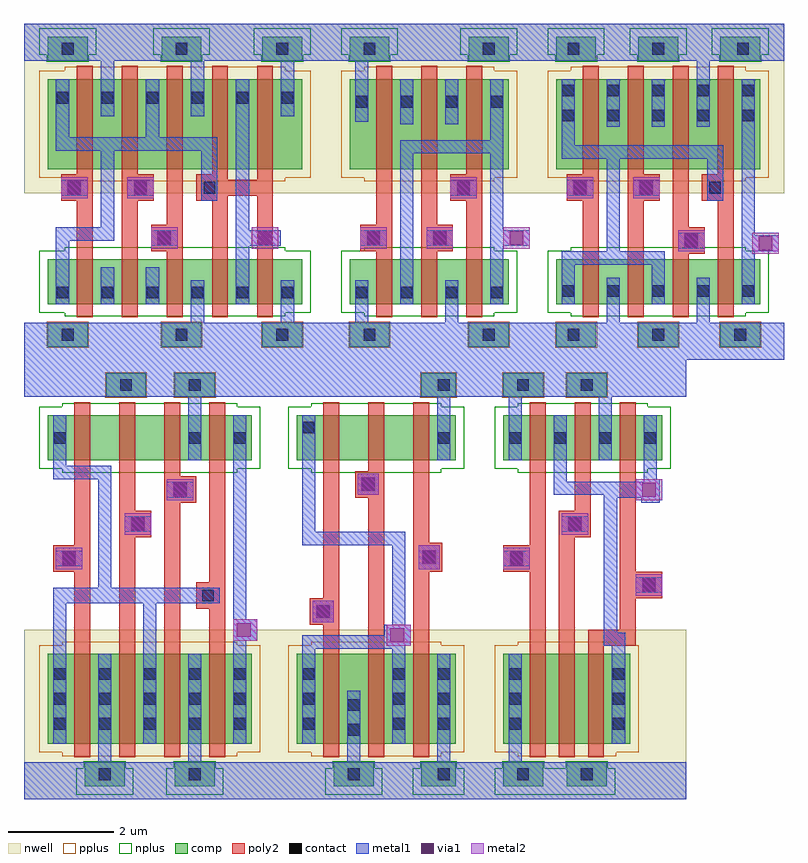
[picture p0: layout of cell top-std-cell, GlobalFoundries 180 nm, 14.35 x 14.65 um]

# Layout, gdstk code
import gdstk
lib = gdstk.Library(unit=1e-6, precision=1e-09)
def R(c, l, rs):  # rectangles x0, y0, x1, y1
    for r in rs: c.add(gdstk.rectangle(r[:2], r[2:], *l))
def A(c, l, x, y, w, h, nx, ny, dx, dy):  # array of equal rectangles
    R(c, l, [(x+i*dx, y+j*dy, x+i*dx+w, y+j*dy+h) for i in range(nx) for j in range(ny)])
nwell = (21, 0)
comp = (22, 0)
poly2 = (30, 0)
pplus = (31, 0)
nplus = (32, 0)
contact = (33, 0)
metal1 = (34, 0)
via1 = (35, 0)
metal2 = (36, 0)

gf180mcu_osu_sc_gp12t3v3 = lib.new_cell('gf180mcu_osu_sc_gp12t3v3__and3_1')
R(gf180mcu_osu_sc_gp12t3v3, nwell, [(0,5.1,4.75,8.3)])
R(gf180mcu_osu_sc_gp12t3v3, comp, [(1.55,0.25,2.3,0.7), (2.85,0.25,3.6,0.7), (0.45,1.05,4.3,1.9), (0.45,5.55,4.3,7.25), (1.15,7.6,1.9,8.05), (2.85,7.6,3.6,8.05)])
R(gf180mcu_osu_sc_gp12t3v3, poly2, [(0.95,0.8,1.25,3.5), (1.8,0.8,2.1,2.85), (2.65,0.8,2.95,2.2), (3.5,0.8,3.8,4.2), (2.65,2.2,3.25,2.7), (2.65,2.7,2.95,7.5), (1.8,2.85,2.4,3.35), (1.8,3.35,2.1,7.5), (0.55,3.5,1.25,4), (0.95,4,1.25,7.5), (3.25,4.2,3.8,4.7), (3.5,4.7,3.8,7.5)])
R(gf180mcu_osu_sc_gp12t3v3, pplus, [(1.53,0.23,2.32,0.72), (2.83,0.23,3.62,0.72), (0.72,5.32,4.03,5.39), (0.29,5.39,4.46,7.41), (0.72,7.41,4.03,7.48)])
R(gf180mcu_osu_sc_gp12t3v3, nplus, [(0.72,0.82,4.03,0.89), (0.29,0.89,4.46,2.06), (0.72,2.06,4.03,2.13), (1.13,7.58,1.92,7.71), (2.83,7.58,3.62,7.71), (0.99,7.71,2.06,8.21), (2.69,7.71,3.76,8.21)])
A(gf180mcu_osu_sc_gp12t3v3, contact, 0.565, 5.82, 0.22, 0.22, 5, 3, 0.85, 0.47)
R(gf180mcu_osu_sc_gp12t3v3, contact, [(1.815,0.365,2.035,0.585), (3.115,0.365,3.335,0.585), (0.565,1.365,0.785,1.585), (3.115,1.365,3.335,1.585), (3.965,1.365,4.185,1.585), (2.84,2.34,3.06,2.56), (2.04,2.99,2.26,3.21), (0.74,3.64,0.96,3.86), (3.365,4.34,3.585,4.56), (1.415,7.715,1.635,7.935), (3.115,7.715,3.335,7.935)])
R(gf180mcu_osu_sc_gp12t3v3, metal1, [(0,0,4.75,0.7), (3.1,0.7,3.35,1.9), (0.55,1.05,0.8,2), (3.95,1.05,4.2,4.9), (0.55,2,1.65,2.25), (1.4,2.25,1.65,4.3), (2.7,2.3,3.2,2.6), (1.9,2.95,2.4,3.25), (0.6,3.6,1.1,3.9), (0.55,4.3,3.7,4.6), (0.55,4.6,0.8,7.25), (2.25,4.6,2.5,7.25), (3.95,4.9,4.4,5.3), (3.95,5.3,4.2,7.25), (1.4,5.55,1.65,7.6), (3.1,5.55,3.35,7.6), (0,7.6,4.75,8.3)])
R(gf180mcu_osu_sc_gp12t3v3, via1, [(2.82,2.32,3.08,2.58), (2.02,2.97,2.28,3.23), (0.72,3.62,0.98,3.88), (4.02,4.97,4.28,5.23)])
R(gf180mcu_osu_sc_gp12t3v3, metal2, [(2.7,2.25,3.2,2.65), (1.9,2.9,2.4,3.3), (0.6,3.55,1.1,3.95), (3.95,4.9,4.4,5.3)])
gf180mcu_osu_sc_gp12t3v3.add(gdstk.Label('Y', (4.15,5.1), layer=36, texttype=0))
gf180mcu_osu_sc_gp12t3v3.add(gdstk.Label('VDD', (1.525,7.825), layer=34, texttype=0))
gf180mcu_osu_sc_gp12t3v3.add(gdstk.Label('VDD', (0.425,8.125), layer=34, texttype=0))
gf180mcu_osu_sc_gp12t3v3.add(gdstk.Label('B', (2.15,3.1), layer=36, texttype=0))
gf180mcu_osu_sc_gp12t3v3.add(gdstk.Label('A', (0.85,3.75), layer=36, texttype=0))
gf180mcu_osu_sc_gp12t3v3.add(gdstk.Label('A', (0.85,3.75), layer=36, texttype=0))
gf180mcu_osu_sc_gp12t3v3.add(gdstk.Label('B', (2.15,3.1), layer=36, texttype=0))
gf180mcu_osu_sc_gp12t3v3.add(gdstk.Label('C', (2.95,2.45), layer=36, texttype=0))
gf180mcu_osu_sc_gp12t3v3.add(gdstk.Label('Y', (4.15,5.1), layer=36, texttype=0))
gf180mcu_osu_sc_gp12t3v3.add(gdstk.Label('VSS', (0.5,0.225), layer=34, texttype=0))

gf180mcu_osu_sc_gp9t3v3_ = lib.new_cell('gf180mcu_osu_sc_gp9t3v3__or3_1')
R(gf180mcu_osu_sc_gp9t3v3_, nwell, [(5.25,3.15,10,6.35)])
A(gf180mcu_osu_sc_gp9t3v3_, comp, 5.7, 0.25, 0.75, 0.45, 3, 2, 1.55, 5.4)
R(gf180mcu_osu_sc_gp9t3v3_, comp, [(5.7,1.05,9.55,1.9), (5.7,3.6,9.55,5.3)])
R(gf180mcu_osu_sc_gp9t3v3_, poly2, [(6.2,0.8,6.5,3), (7.05,0.8,7.35,3), (7.9,0.8,8.2,2), (8.75,0.8,9.05,3), (7.9,2,8.5,2.5), (7.9,2.5,8.2,5.55), (5.9,3,6.5,3.5), (7.05,3,7.65,3.5), (8.45,3,9.05,3.5), (6.2,3.5,6.5,5.55), (7.05,3.5,7.35,5.55), (8.75,3.5,9.05,5.55)])
A(gf180mcu_osu_sc_gp9t3v3_, pplus, 5.68, 0.23, 0.79, 0.49, 3, 1, 1.55, 0)
R(gf180mcu_osu_sc_gp9t3v3_, pplus, [(5.97,3.37,9.28,3.44), (5.54,3.44,9.71,5.46), (5.97,5.46,9.28,5.53)])
A(gf180mcu_osu_sc_gp9t3v3_, nplus, 5.68, 5.63, 0.79, 0.13, 3, 1, 1.55, 0)
A(gf180mcu_osu_sc_gp9t3v3_, nplus, 5.54, 5.76, 1.07, 0.5, 3, 1, 1.55, 0)
R(gf180mcu_osu_sc_gp9t3v3_, nplus, [(5.97,0.82,9.28,0.89), (5.54,0.89,9.71,2.06), (5.97,2.06,9.28,2.13)])
A(gf180mcu_osu_sc_gp9t3v3_, contact, 5.815, 1.19, 0.22, 0.22, 5, 2, 0.85, 3.315)
A(gf180mcu_osu_sc_gp9t3v3_, contact, 5.815, 4.975, 0.22, 0.22, 5, 1, 0.85, 0)
A(gf180mcu_osu_sc_gp9t3v3_, contact, 5.915, 5.765, 0.22, 0.22, 3, 1, 1.6, 0)
R(gf180mcu_osu_sc_gp9t3v3_, contact, [(5.915,0.365,6.135,0.585), (7.515,0.365,7.735,0.585), (9.065,0.365,9.285,0.585), (8.14,2.14,8.36,2.36), (6.04,3.14,6.26,3.36), (7.29,3.14,7.51,3.36), (8.59,3.14,8.81,3.36)])
R(gf180mcu_osu_sc_gp9t3v3_, metal1, [(5.25,0,10,0.7), (6.65,0.7,6.9,1.55), (8.35,0.7,8.6,1.55), (5.8,1.05,6.05,1.8), (7.5,1.05,7.75,1.8), (9.2,1.05,9.45,2.05), (5.8,1.8,7.75,2.05), (6.65,2.05,6.9,3.8), (9.2,2.05,9.9,2.35), (8,2.1,8.5,2.4), (9.2,2.35,9.45,5.3), (8.55,3,8.85,3.8), (5.9,3.1,6.4,3.4), (7.15,3.1,7.65,3.4), (5.8,3.8,8.85,4.05), (5.8,4.05,6.05,5.3), (6.65,4.4,6.9,5.3), (7.5,4.4,7.75,5.3), (8.35,4.4,8.6,5.65), (5.25,5.65,10,6.35)])
R(gf180mcu_osu_sc_gp9t3v3_, via1, [(9.52,2.07,9.78,2.33), (8.12,2.12,8.38,2.38), (6.02,3.12,6.28,3.38), (7.27,3.12,7.53,3.38)])
R(gf180mcu_osu_sc_gp9t3v3_, metal2, [(9.4,2,9.9,2.4), (8,2.05,8.5,2.45), (5.9,3.05,6.4,3.45), (7.15,3.05,7.65,3.45)])
gf180mcu_osu_sc_gp9t3v3_.add(gdstk.Label('VDD', (7.625,5.875), layer=34, texttype=0))
gf180mcu_osu_sc_gp9t3v3_.add(gdstk.Label('VSS', (7.625,0.475), layer=34, texttype=0))
gf180mcu_osu_sc_gp9t3v3_.add(gdstk.Label('net2', (6.775,4.85), layer=34, texttype=0))
gf180mcu_osu_sc_gp9t3v3_.add(gdstk.Label('net3', (5.925,1.3), layer=34, texttype=0))
gf180mcu_osu_sc_gp9t3v3_.add(gdstk.Label('net1', (7.625,4.85), layer=34, texttype=0))
gf180mcu_osu_sc_gp9t3v3_.add(gdstk.Label('VSS', (5.55,0.15), layer=34, texttype=0))
gf180mcu_osu_sc_gp9t3v3_.add(gdstk.Label('VDD', (5.5,6.2), layer=34, texttype=0))
gf180mcu_osu_sc_gp9t3v3_.add(gdstk.Label('A', (6.15,3.25), layer=36, texttype=0))
gf180mcu_osu_sc_gp9t3v3_.add(gdstk.Label('B', (7.4,3.25), layer=36, texttype=0))
gf180mcu_osu_sc_gp9t3v3_.add(gdstk.Label('C', (8.25,2.25), layer=36, texttype=0))
gf180mcu_osu_sc_gp9t3v3_.add(gdstk.Label('Y', (9.65,2.2), layer=36, texttype=0))

c_gf180mcu_osu_sc_gp9t3v3_ = lib.new_cell('gf180mcu_osu_sc_gp9t3v3__nor3_1')
R(c_gf180mcu_osu_sc_gp9t3v3_, nwell, [(5.7,3.15,9.6,6.35)])
R(c_gf180mcu_osu_sc_gp9t3v3_, comp, [(6.15,0.25,6.9,0.7), (8.4,0.25,9.15,0.7), (6.15,1.05,9.15,1.9), (6.15,3.6,9.15,5.3), (6.15,5.65,6.9,6.1), (8.4,5.65,9.15,6.1)])
R(c_gf180mcu_osu_sc_gp9t3v3_, poly2, [(6.65,0.8,6.95,2.05), (7.5,0.8,7.8,2.05), (8.35,0.8,8.65,3), (6.35,2.05,6.95,2.55), (7.5,2.05,8.1,2.55), (6.65,2.55,6.95,5.55), (7.5,2.55,7.8,5.55), (8.05,3,8.65,3.5), (8.35,3.5,8.65,5.55)])
R(c_gf180mcu_osu_sc_gp9t3v3_, pplus, [(6.13,0.23,6.92,0.72), (8.38,0.23,9.17,0.72), (6.42,3.37,8.88,3.44), (5.99,3.44,9.31,5.46), (6.42,5.46,8.88,5.53)])
R(c_gf180mcu_osu_sc_gp9t3v3_, nplus, [(6.42,0.82,8.88,0.89), (5.99,0.89,9.31,2.06), (6.42,2.06,8.88,2.13), (6.13,5.63,6.92,5.76), (8.38,5.63,9.17,5.76), (5.99,5.76,7.06,6.26), (8.24,5.76,9.31,6.26)])
A(c_gf180mcu_osu_sc_gp9t3v3_, contact, 6.265, 1.165, 0.22, 0.22, 4, 2, 0.85, 3.6)
R(c_gf180mcu_osu_sc_gp9t3v3_, contact, [(6.415,0.365,6.635,0.585), (8.665,0.365,8.885,0.585), (6.49,2.19,6.71,2.41), (7.74,2.19,7.96,2.41), (8.19,3.14,8.41,3.36), (6.415,5.765,6.635,5.985), (8.665,5.765,8.885,5.985)])
R(c_gf180mcu_osu_sc_gp9t3v3_, metal1, [(5.7,0,9.6,0.7), (6.25,0.7,6.5,1.5), (7.95,0.7,8.2,1.5), (7.1,1.05,7.35,3.9), (8.8,1.05,9.05,2.15), (6.35,2.15,6.85,2.45), (7.6,2.15,8.1,2.45), (8.8,2.15,9.55,2.45), (8.8,2.45,9.05,3.9), (8.05,3.1,8.55,3.4), (7.1,3.9,9.05,4.15), (8.8,4.15,9.05,5.3), (7.1,4.45,7.35,5.3), (7.95,4.45,8.2,5.3), (6.25,4.5,6.5,5.65), (5.7,5.65,9.6,6.35)])
R(c_gf180mcu_osu_sc_gp9t3v3_, via1, [(6.47,2.17,6.73,2.43), (7.72,2.17,7.98,2.43), (9.17,2.17,9.43,2.43), (8.17,3.12,8.43,3.38)])
R(c_gf180mcu_osu_sc_gp9t3v3_, metal2, [(6.35,2.1,6.85,2.5), (7.6,2.1,8.1,2.5), (9.05,2.1,9.55,2.5), (8.05,3.05,8.55,3.45)])
c_gf180mcu_osu_sc_gp9t3v3_.add(gdstk.Label('A', (6.6,2.3), layer=36, texttype=0))
c_gf180mcu_osu_sc_gp9t3v3_.add(gdstk.Label('B', (7.85,2.3), layer=36, texttype=0))
c_gf180mcu_osu_sc_gp9t3v3_.add(gdstk.Label('C', (8.3,3.25), layer=36, texttype=0))
c_gf180mcu_osu_sc_gp9t3v3_.add(gdstk.Label('Y', (9.3,2.3), layer=36, texttype=0))
c_gf180mcu_osu_sc_gp9t3v3_.add(gdstk.Label('VDD', (5.975,6.15), layer=34, texttype=0))
c_gf180mcu_osu_sc_gp9t3v3_.add(gdstk.Label('VSS', (5.925,0.2), layer=34, texttype=0))
c_gf180mcu_osu_sc_gp9t3v3_.add(gdstk.Label('net1', (6.375,4.875), layer=34, texttype=0))
c_gf180mcu_osu_sc_gp9t3v3_.add(gdstk.Label('net2', (6.375,1.275), layer=34, texttype=0))
c_gf180mcu_osu_sc_gp9t3v3_.add(gdstk.Label('net3', (7.225,1.275), layer=34, texttype=0))

c_gf180mcu_osu_sc_gp12t3v3 = lib.new_cell('gf180mcu_osu_sc_gp12t3v3__nor3_1')
R(c_gf180mcu_osu_sc_gp12t3v3, nwell, [(-0.15,5.1,3.75,8.3)])
R(c_gf180mcu_osu_sc_gp12t3v3, comp, [(0.3,0.25,1.05,0.7), (1.5,0.25,2.25,0.7), (0.3,1.05,3.3,1.9), (0.3,5.55,2.7,7.25), (0.3,7.6,1.05,8.05), (1.5,7.6,2.25,8.05)])
R(c_gf180mcu_osu_sc_gp12t3v3, poly2, [(0.8,0.8,1.1,3.5), (1.65,0.8,1.95,2.85), (2.5,0.8,2.8,4), (1.35,2.85,1.95,3.35), (1.35,3.35,1.65,7.5), (0.3,3.5,1.1,4), (0.8,4,1.1,7.5), (2.5,4,3.3,4.5), (2.5,4.5,2.8,5.1), (1.9,5.1,2.8,5.4), (1.9,5.4,2.2,7.5)])
R(c_gf180mcu_osu_sc_gp12t3v3, pplus, [(0.28,0.23,1.07,0.72), (1.48,0.23,2.27,0.72), (0.57,5.32,2.43,5.39), (0.14,5.39,2.86,7.41), (0.57,7.41,2.43,7.48)])
R(c_gf180mcu_osu_sc_gp12t3v3, nplus, [(0.57,0.82,3.03,0.89), (0.14,0.89,3.46,2.06), (0.57,2.06,3.03,2.13), (0.28,7.58,1.07,7.71), (1.48,7.58,2.27,7.71), (0.14,7.71,2.41,8.21)])
A(c_gf180mcu_osu_sc_gp12t3v3, contact, 0.415, 1.365, 0.22, 0.22, 4, 1, 0.85, 0)
A(c_gf180mcu_osu_sc_gp12t3v3, contact, 0.415, 5.82, 0.22, 0.22, 1, 3, 0, 0.47)
A(c_gf180mcu_osu_sc_gp12t3v3, contact, 2.365, 5.82, 0.22, 0.22, 1, 3, 0, 0.47)
R(c_gf180mcu_osu_sc_gp12t3v3, contact, [(0.565,0.365,0.785,0.585), (1.765,0.365,1.985,0.585), (1.54,2.99,1.76,3.21), (0.44,3.64,0.66,3.86), (2.94,4.14,3.16,4.36), (0.565,7.715,0.785,7.935), (1.765,7.715,1.985,7.935)])
R(c_gf180mcu_osu_sc_gp12t3v3, metal1, [(-0.15,0,3.75,0.7), (0.4,0.7,0.65,1.9), (2.1,0.7,2.35,1.9), (1.25,1.05,1.5,2.3), (2.95,1.05,3.2,2.25), (2.95,2.25,3.25,2.3), (1.25,2.3,3.25,2.55), (2.2,2.55,3.25,2.6), (2.2,2.6,2.45,5.15), (2.9,2.6,3.25,2.7), (1.4,2.95,1.9,3.25), (0.3,3.6,0.8,3.9), (2.8,4.1,3.3,4.4), (2.2,5.15,2.6,5.4), (2.35,5.4,2.6,7.25), (0.4,5.55,0.65,7.6), (-0.15,7.6,3.75,8.3)])
R(c_gf180mcu_osu_sc_gp12t3v3, via1, [(2.92,2.32,3.18,2.58), (1.52,2.97,1.78,3.23), (0.42,3.62,0.68,3.88), (2.92,4.12,3.18,4.38)])
R(c_gf180mcu_osu_sc_gp12t3v3, metal2, [(2.8,2.25,3.3,2.65), (1.4,2.9,1.9,3.3), (0.3,3.55,0.8,3.95), (2.8,4.05,3.3,4.45)])
c_gf180mcu_osu_sc_gp12t3v3.add(gdstk.Label('VDD', (0.675,7.825), layer=34, texttype=0))
c_gf180mcu_osu_sc_gp12t3v3.add(gdstk.Label('VDD', (1.875,7.825), layer=34, texttype=0))
c_gf180mcu_osu_sc_gp12t3v3.add(gdstk.Label('VSS', (0.675,0.475), layer=34, texttype=0))
c_gf180mcu_osu_sc_gp12t3v3.add(gdstk.Label('VSS', (1.875,0.475), layer=34, texttype=0))
c_gf180mcu_osu_sc_gp12t3v3.add(gdstk.Label('net1', (0.525,6.4), layer=34, texttype=0))
c_gf180mcu_osu_sc_gp12t3v3.add(gdstk.Label('net2', (0.525,1.475), layer=34, texttype=0))
c_gf180mcu_osu_sc_gp12t3v3.add(gdstk.Label('net3', (1.375,1.475), layer=34, texttype=0))
c_gf180mcu_osu_sc_gp12t3v3.add(gdstk.Label('VDD', (0.15,8.125), layer=34, texttype=0))
c_gf180mcu_osu_sc_gp12t3v3.add(gdstk.Label('VSS', (0.1,0.175), layer=34, texttype=0))
c_gf180mcu_osu_sc_gp12t3v3.add(gdstk.Label('A', (0.55,3.75), layer=36, texttype=0))
c_gf180mcu_osu_sc_gp12t3v3.add(gdstk.Label('B', (1.65,3.1), layer=36, texttype=0))
c_gf180mcu_osu_sc_gp12t3v3.add(gdstk.Label('C', (3.05,4.25), layer=36, texttype=0))
c_gf180mcu_osu_sc_gp12t3v3.add(gdstk.Label('Y', (3.05,2.45), layer=36, texttype=0))
c_gf180mcu_osu_sc_gp12t3v3.add(gdstk.Label('VDD', (0.7,7.85), layer=22, texttype=0))
c_gf180mcu_osu_sc_gp12t3v3.add(gdstk.Label('VSS', (0.65,0.45), layer=22, texttype=0))

c_gf180mcu_osu_sc_gp12t3v3_ = lib.new_cell('gf180mcu_osu_sc_gp12t3v3__nand3_1')
R(c_gf180mcu_osu_sc_gp12t3v3_, nwell, [(-0.85,5.1,3.05,8.3)])
R(c_gf180mcu_osu_sc_gp12t3v3_, comp, [(1.95,0.25,2.6,0.7), (-0.4,1.05,2.6,1.9), (-0.4,5.55,2.6,7.25), (0.3,7.6,1.05,8.05), (1.95,7.6,2.6,8.05)])
R(c_gf180mcu_osu_sc_gp12t3v3_, poly2, [(0.1,0.8,0.4,4.5), (0.95,0.8,1.25,2.1), (1.8,0.8,2.1,3.45), (0.7,2.1,1.25,2.6), (0.95,2.6,1.25,7.5), (1.8,3.45,2.35,4), (1.8,4,2.1,7.5), (-0.15,4.5,0.4,5), (0.1,5,0.4,7.5)])
R(c_gf180mcu_osu_sc_gp12t3v3_, pplus, [(1.93,0.23,2.62,0.72), (-0.13,5.32,2.33,5.39), (-0.56,5.39,2.76,7.41), (-0.13,7.41,2.33,7.48)])
R(c_gf180mcu_osu_sc_gp12t3v3_, nplus, [(-0.13,0.82,2.33,0.89), (-0.56,0.89,2.76,2.06), (-0.13,2.06,2.33,2.13), (0.28,7.58,1.07,7.71), (1.93,7.58,2.62,7.71), (0.14,7.71,1.21,8.21), (1.79,7.71,2.76,8.21)])
A(c_gf180mcu_osu_sc_gp12t3v3_, contact, -0.285, 5.82, 0.22, 0.22, 1, 3, 0, 0.47)
A(c_gf180mcu_osu_sc_gp12t3v3_, contact, 1.415, 5.82, 0.22, 0.22, 1, 3, 0, 0.47)
A(c_gf180mcu_osu_sc_gp12t3v3_, contact, 2.265, 5.82, 0.22, 0.22, 1, 3, 0, 0.47)
R(c_gf180mcu_osu_sc_gp12t3v3_, contact, [(2.265,0.365,2.485,0.585), (-0.285,1.165,-0.065,1.385), (2.265,1.365,2.485,1.585), (0.84,2.24,1.06,2.46), (1.99,3.615,2.21,3.835), (-0.01,4.64,0.21,4.86), (0.565,6.405,0.785,6.625), (0.565,6.875,0.785,7.095), (0.565,7.715,0.785,7.935), (2.265,7.715,2.485,7.935)])
R(c_gf180mcu_osu_sc_gp12t3v3_, metal1, [(-0.85,0,3.05,0.7), (2.25,0.7,2.5,1.9), (-0.3,1.05,-0.05,3.25), (0.75,2.15,1.15,2.55), (-0.3,3.25,1.65,3.5), (1.4,3.5,1.65,5), (1.9,3.5,2.3,3.95), (-0.1,4.55,0.3,4.95), (1.25,5,1.75,5.2), (-0.3,5.2,1.75,5.4), (-0.3,5.4,1.65,5.45), (-0.3,5.45,-0.05,7.25), (1.4,5.45,1.65,7.25), (2.25,5.55,2.5,7.6), (0.55,6.25,0.8,7.6), (-0.85,7.6,3.05,8.3)])
R(c_gf180mcu_osu_sc_gp12t3v3_, via1, [(0.82,2.22,1.08,2.48), (1.97,3.595,2.23,3.855), (-0.03,4.62,0.23,4.88), (1.37,5.07,1.63,5.33)])
R(c_gf180mcu_osu_sc_gp12t3v3_, metal2, [(0.75,2.15,1.15,2.55), (1.9,3.5,2.3,3.95), (-0.1,4.55,0.3,4.95), (1.3,5,1.75,5.4)])
c_gf180mcu_osu_sc_gp12t3v3_.add(gdstk.Label('VDD', (0.95,8.2), layer=21, texttype=0))
c_gf180mcu_osu_sc_gp12t3v3_.add(gdstk.Label('VSS', (1.15,0.15), layer=34, texttype=0))
c_gf180mcu_osu_sc_gp12t3v3_.add(gdstk.Label('A', (0.1,4.75), layer=36, texttype=0))
c_gf180mcu_osu_sc_gp12t3v3_.add(gdstk.Label('Y', (1.5,5.2), layer=36, texttype=0))
c_gf180mcu_osu_sc_gp12t3v3_.add(gdstk.Label('C', (2.1,3.725), layer=36, texttype=0))
c_gf180mcu_osu_sc_gp12t3v3_.add(gdstk.Label('B', (0.95,2.35), layer=36, texttype=0))
c_gf180mcu_osu_sc_gp12t3v3_.add(gdstk.Label('B', (1.05,2.35), layer=36, texttype=0))
c_gf180mcu_osu_sc_gp12t3v3_.add(gdstk.Label('C', (2,3.725), layer=36, texttype=0))
c_gf180mcu_osu_sc_gp12t3v3_.add(gdstk.Label('Y', (1.5,5.1), layer=36, texttype=0))
c_gf180mcu_osu_sc_gp12t3v3_.add(gdstk.Label('A', (0,4.75), layer=36, texttype=0))
c_gf180mcu_osu_sc_gp12t3v3_.add(gdstk.Label('VDD', (2.35,7.8), layer=22, texttype=0))
c_gf180mcu_osu_sc_gp12t3v3_.add(gdstk.Label('VDD', (0.65,7.8), layer=22, texttype=0))
c_gf180mcu_osu_sc_gp12t3v3_.add(gdstk.Label('VSS', (2.35,0.45), layer=22, texttype=0))

c_gf180mcu_osu_sc_gp9t3v3__ = lib.new_cell('gf180mcu_osu_sc_gp9t3v3__and3_2')
R(c_gf180mcu_osu_sc_gp9t3v3__, nwell, [(-0.9,3.15,4.8,6.35)])
R(c_gf180mcu_osu_sc_gp9t3v3__, comp, [(-0.45,0.25,0.3,0.7), (1.7,0.25,2.45,0.7), (3.6,0.25,4.35,0.7), (-0.45,1.05,4.35,1.9), (-0.45,3.6,4.35,5.3), (-0.45,5.65,0.3,6.1), (1.7,5.65,2.45,6.1), (3.6,5.65,4.35,6.1)])
R(c_gf180mcu_osu_sc_gp9t3v3__, poly2, [(0.1,0.8,0.4,3), (0.95,0.8,1.25,3), (1.8,0.8,2.1,2.05), (2.65,0.8,2.95,3), (3.5,0.8,3.8,3.1), (1.5,2.05,2.1,2.55), (1.8,2.55,2.1,5.55), (-0.2,3,0.4,3.5), (0.95,3,1.55,3.5), (2.35,3,2.95,3.1), (2.35,3.1,3.8,3.4), (2.35,3.4,2.95,3.5), (3.5,3.4,3.8,5.55), (0.1,3.5,0.4,5.55), (0.95,3.5,1.25,5.55), (2.65,3.5,2.95,5.55)])
R(c_gf180mcu_osu_sc_gp9t3v3__, pplus, [(-0.47,0.23,0.32,0.72), (1.68,0.23,2.47,0.72), (3.58,0.23,4.37,0.72), (-0.13,3.37,4.03,3.44), (-0.61,3.44,4.51,5.46), (-0.13,5.46,4.03,5.53)])
R(c_gf180mcu_osu_sc_gp9t3v3__, nplus, [(-0.13,0.82,4.03,0.89), (-0.61,0.89,4.51,2.06), (-0.13,2.06,4.03,2.13), (-0.47,5.63,0.32,5.76), (1.68,5.63,2.47,5.76), (3.58,5.63,4.37,5.76), (-0.61,5.76,0.46,6.26), (1.54,5.76,2.61,6.26), (3.44,5.76,4.51,6.26)])
A(c_gf180mcu_osu_sc_gp9t3v3__, contact, -0.285, 1.165, 0.22, 0.22, 6, 2, 0.85, 3.675)
R(c_gf180mcu_osu_sc_gp9t3v3__, contact, [(-0.185,0.365,0.035,0.585), (1.965,0.365,2.185,0.585), (3.865,0.365,4.085,0.585), (1.64,2.19,1.86,2.41), (-0.06,3.14,0.16,3.36), (1.19,3.14,1.41,3.36), (2.49,3.14,2.71,3.36), (-0.185,5.765,0.035,5.985), (1.965,5.765,2.185,5.985), (3.865,5.765,4.085,5.985)])
A(c_gf180mcu_osu_sc_gp9t3v3__, metal1, 0.55, 4.6, 0.25, 1.05, 3, 1, 1.7, 0)
R(c_gf180mcu_osu_sc_gp9t3v3__, metal1, [(-0.9,0,4.8,0.7), (2.25,0.7,2.5,1.5), (3.95,0.7,4.2,1.5), (-0.3,1.05,-0.05,2.25), (0.55,1.05,0.8,1.75), (1.4,1.05,1.65,1.75), (3.1,1.05,3.35,2.15), (1.5,2.15,2,2.45), (3.1,2.15,3.95,2.45), (-0.3,2.25,0.8,2.5), (3.1,2.45,3.35,5.3), (0.55,2.5,0.8,3.95), (2.45,3,2.75,3.95), (-0.2,3.1,0.3,3.4), (1.05,3.1,1.55,3.4), (-0.3,3.95,2.75,4.2), (-0.3,4.2,-0.05,5.3), (1.4,4.2,1.65,5.3), (-0.9,5.65,4.8,6.35)])
R(c_gf180mcu_osu_sc_gp9t3v3__, via1, [(1.62,2.17,1.88,2.43), (3.52,2.17,3.78,2.43), (-0.08,3.12,0.18,3.38), (1.17,3.12,1.43,3.38)])
R(c_gf180mcu_osu_sc_gp9t3v3__, metal2, [(1.5,2.1,2,2.5), (3.4,2.1,3.9,2.5), (-0.2,3.05,0.3,3.45), (1.05,3.05,1.55,3.45)])
c_gf180mcu_osu_sc_gp9t3v3__.add(gdstk.Label('Y', (3.65,2.3), layer=36, texttype=0))
c_gf180mcu_osu_sc_gp9t3v3__.add(gdstk.Label('net1', (-0.175,4.95), layer=34, texttype=0))
c_gf180mcu_osu_sc_gp9t3v3__.add(gdstk.Label('net2', (0.675,1.275), layer=34, texttype=0))
c_gf180mcu_osu_sc_gp9t3v3__.add(gdstk.Label('net3', (1.525,1.275), layer=34, texttype=0))
c_gf180mcu_osu_sc_gp9t3v3__.add(gdstk.Label('VDD', (-0.075,5.875), layer=34, texttype=0))
c_gf180mcu_osu_sc_gp9t3v3__.add(gdstk.Label('VDD', (2.075,5.875), layer=34, texttype=0))
c_gf180mcu_osu_sc_gp9t3v3__.add(gdstk.Label('VDD', (3.975,5.875), layer=34, texttype=0))
c_gf180mcu_osu_sc_gp9t3v3__.add(gdstk.Label('VSS', (-0.075,0.475), layer=34, texttype=0))
c_gf180mcu_osu_sc_gp9t3v3__.add(gdstk.Label('VSS', (2.075,0.475), layer=34, texttype=0))
c_gf180mcu_osu_sc_gp9t3v3__.add(gdstk.Label('VSS', (3.975,0.475), layer=34, texttype=0))
c_gf180mcu_osu_sc_gp9t3v3__.add(gdstk.Label('A', (0.05,3.25), layer=36, texttype=0))
c_gf180mcu_osu_sc_gp9t3v3__.add(gdstk.Label('B', (1.3,3.25), layer=36, texttype=0))
c_gf180mcu_osu_sc_gp9t3v3__.add(gdstk.Label('C', (1.75,2.3), layer=36, texttype=0))
c_gf180mcu_osu_sc_gp9t3v3__.add(gdstk.Label('VDD', (-0.4,6.225), layer=34, texttype=0))
c_gf180mcu_osu_sc_gp9t3v3__.add(gdstk.Label('VSS', (-0.4,0.125), layer=34, texttype=0))

top_std_cell = lib.new_cell('top-std-cell')
top_std_cell.add(gdstk.Reference(gf180mcu_osu_sc_gp12t3v3, (0,0), x_reflection=True))
top_std_cell.add(gdstk.Reference(gf180mcu_osu_sc_gp9t3v3_, (4.35,0)))
top_std_cell.add(gdstk.Reference(c_gf180mcu_osu_sc_gp9t3v3_, (0,0)))
top_std_cell.add(gdstk.Reference(c_gf180mcu_osu_sc_gp12t3v3, (8.75,0), x_reflection=True))
top_std_cell.add(gdstk.Reference(c_gf180mcu_osu_sc_gp12t3v3_, (5.55,0), x_reflection=True))
top_std_cell.add(gdstk.Reference(c_gf180mcu_osu_sc_gp9t3v3__, (0.9,0)))

lib.write_gds('top-std-cell.gds')
